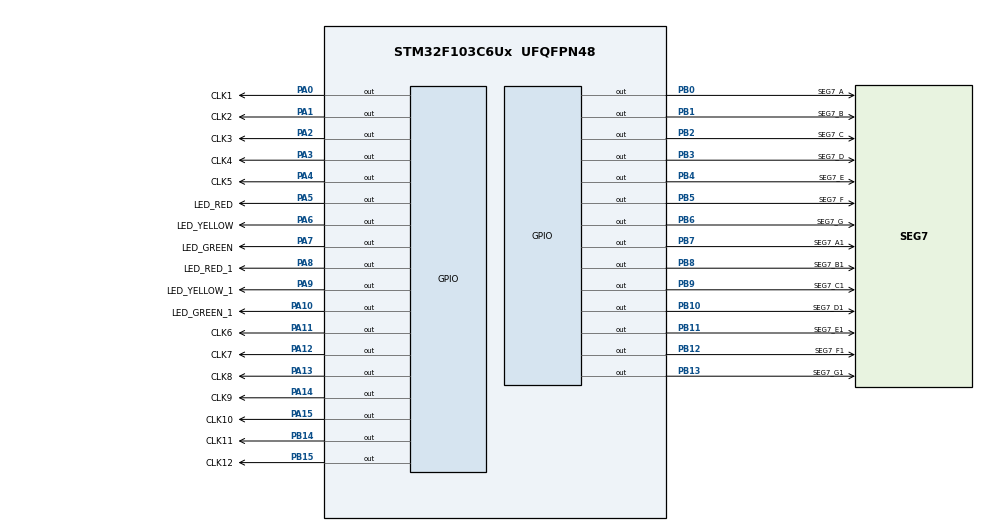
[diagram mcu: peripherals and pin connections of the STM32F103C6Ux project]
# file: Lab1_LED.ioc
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Mcu.Family=STM32F1
Mcu.Name=STM32F103C6Ux
Mcu.Package=UFQFPN48
NVIC.PriorityGroup=NVIC_PRIORITYGROUP_4
PA0-WKUP.GPIO_Label=CLK1
PA0-WKUP.Signal=GPIO_Output
PA1.GPIO_Label=CLK2
PA1.Signal=GPIO_Output
PA10.GPIO_Label=LED_GREEN_1
PA10.Signal=GPIO_Output
PA11.GPIO_Label=CLK6
PA11.Signal=GPIO_Output
PA12.GPIO_Label=CLK7
PA12.Signal=GPIO_Output
PA13.GPIO_Label=CLK8
PA13.Signal=GPIO_Output
PA14.GPIO_Label=CLK9
PA14.Signal=GPIO_Output
PA15.GPIO_Label=CLK10
PA15.Signal=GPIO_Output
PA2.GPIO_Label=CLK3
PA2.Signal=GPIO_Output
PA3.GPIO_Label=CLK4
PA3.Signal=GPIO_Output
PA4.GPIO_Label=CLK5
PA4.Signal=GPIO_Output
PA5.GPIO_Label=LED_RED
PA5.Signal=GPIO_Output
PA6.GPIO_Label=LED_YELLOW
PA6.Signal=GPIO_Output
PA7.GPIO_Label=LED_GREEN
PA7.Signal=GPIO_Output
PA8.GPIO_Label=LED_RED_1
PA8.Signal=GPIO_Output
PA9.GPIO_Label=LED_YELLOW_1
PA9.Signal=GPIO_Output
PB0.GPIO_Label=SEG7_A
PB0.Signal=GPIO_Output
PB1.GPIO_Label=SEG7_B
PB1.Signal=GPIO_Output
PB10.GPIO_Label=SEG7_D1
PB10.Signal=GPIO_Output
PB11.GPIO_Label=SEG7_E1
PB11.Signal=GPIO_Output
PB12.GPIO_Label=SEG7_F1
PB12.Signal=GPIO_Output
PB13.GPIO_Label=SEG7_G1
PB13.Signal=GPIO_Output
PB14.GPIO_Label=CLK11
PB14.Signal=GPIO_Output
PB15.GPIO_Label=CLK12
PB15.Signal=GPIO_Output
PB2.GPIO_Label=SEG7_C
PB2.Signal=GPIO_Output
PB3.GPIO_Label=SEG7_D
PB3.Signal=GPIO_Output
PB4.GPIO_Label=SEG7_E
PB4.Signal=GPIO_Output
PB5.GPIO_Label=SEG7_F
PB5.Signal=GPIO_Output
PB6.GPIO_Label=SEG7_G
PB6.Signal=GPIO_Output
PB7.GPIO_Label=SEG7_A1
PB7.Signal=GPIO_Output
PB8.GPIO_Label=SEG7_B1
PB8.Signal=GPIO_Output
PB9.GPIO_Label=SEG7_C1
PB9.Signal=GPIO_Output
ProjectManager.HeapSize=0x200
ProjectManager.StackSize=0x400
ProjectManager.TargetToolchain=STM32CubeIDE
RCC.APB1Freq_Value=8000000
RCC.APB2Freq_Value=8000000
board=custom

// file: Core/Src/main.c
/* USER CODE BEGIN Header */
/**
  ******************************************************************************
  * @file           : main.c
  * @brief          : Main program body
  ******************************************************************************
  * @attention
  *
  * Copyright (c) 2025 STMicroelectronics.
  * All rights reserved.
  *
  * This software is licensed under terms that can be found in the LICENSE file
  * in the root directory of this software component.
  * If no LICENSE file comes with this software, it is provided AS-IS.
  *
  ******************************************************************************
  */
/* USER CODE END Header */
#include "main.h"

/* USER CODE BEGIN Includes */
#include "Exercise1.h"
#include "Exercise2.h"
#include "Exercise3.h"
#include "Exercise4.h"
#include "Exercise5.h"
//#define RED_TIME 3000

/* USER CODE END Includes */

void SystemClock_Config(void);
static void MX_GPIO_Init(void);

/* USER CODE BEGIN 0 */
//uint8_t led_red_state = LED_OFF;
//uint8_t led_yellow_state = LED_OFF;
//uint8_t led_green_state = LED_OFF;
//uint8_t led_red1_state = LED_OFF;
//uint8_t led_yellow1_state = LED_OFF;
//uint8_t led_green1_state = LED_OFF;

///Exercise2: Traffic light

//Exercises
void Exercise0();

//void Exercise3();
//void Exercise4();
void Exercise5();
void Exercise6();
void Exercise7();
void Exercise8();
void Exercise9();
void Exercise10();
/* USER CODE END 0 */

int main(void)
{

  /* MCU Configuration--------------------------------------------------------*/

  /* Reset of all peripherals, Initializes the Flash interface and the Systick. */
  HAL_Init();

  /* Configure the system clock */
  SystemClock_Config();

  /* Initialize all configured peripherals */
  MX_GPIO_Init();

  /* Infinite loop */
  while (1)
  {
	  Excercise5();
	  HAL_Delay(1000);
  }
}

void SystemClock_Config(void)
{
  RCC_OscInitTypeDef RCC_OscInitStruct = {0};
  RCC_ClkInitTypeDef RCC_ClkInitStruct = {0};

  /** Initializes the RCC Oscillators according to the specified parameters
  * in the RCC_OscInitTypeDef structure.
  */
  RCC_OscInitStruct.OscillatorType = RCC_OSCILLATORTYPE_HSI;
  RCC_OscInitStruct.HSIState = RCC_HSI_ON;
  RCC_OscInitStruct.HSICalibrationValue = RCC_HSICALIBRATION_DEFAULT;
  RCC_OscInitStruct.PLL.PLLState = RCC_PLL_NONE;
  if (HAL_RCC_OscConfig(&RCC_OscInitStruct) != HAL_OK)
  {
    Error_Handler();
  }

  /** Initializes the CPU, AHB and APB buses clocks
  */
  RCC_ClkInitStruct.ClockType = RCC_CLOCKTYPE_HCLK|RCC_CLOCKTYPE_SYSCLK
                              |RCC_CLOCKTYPE_PCLK1|RCC_CLOCKTYPE_PCLK2;
  RCC_ClkInitStruct.SYSCLKSource = RCC_SYSCLKSOURCE_HSI;
  RCC_ClkInitStruct.AHBCLKDivider = RCC_SYSCLK_DIV1;
  RCC_ClkInitStruct.APB1CLKDivider = RCC_HCLK_DIV1;
  RCC_ClkInitStruct.APB2CLKDivider = RCC_HCLK_DIV1;

  if (HAL_RCC_ClockConfig(&RCC_ClkInitStruct, FLASH_LATENCY_0) != HAL_OK)
  {
    Error_Handler();
  }
}

static void MX_GPIO_Init(void)
{
  GPIO_InitTypeDef GPIO_InitStruct = {0};

  /* GPIO Ports Clock Enable */
  __HAL_RCC_GPIOA_CLK_ENABLE();
  __HAL_RCC_GPIOB_CLK_ENABLE();

  /*Configure GPIO pin Output Level */
  HAL_GPIO_WritePin(GPIOA, CLK1_Pin|CLK2_Pin|CLK3_Pin|CLK4_Pin
                          |CLK5_Pin|LED_RED_Pin|LED_YELLOW_Pin|LED_GREEN_Pin
                          |LED_RED_1_Pin|LED_YELLOW_1_Pin|LED_GREEN_1_Pin|CLK6_Pin
                          |CLK7_Pin|CLK8_Pin|CLK9_Pin|CLK10_Pin, GPIO_PIN_RESET);

  /*Configure GPIO pin Output Level */
  HAL_GPIO_WritePin(GPIOB, SEG7_A_Pin|SEG7_B_Pin|SEG7_C_Pin|SEG7_D1_Pin
                          |SEG7_E1_Pin|SEG7_F1_Pin|SEG7_G1_Pin|CLK11_Pin
                          |CLK12_Pin|SEG7_D_Pin|SEG7_E_Pin|SEG7_F_Pin
                          |SEG7_G_Pin|SEG7_A1_Pin|SEG7_B1_Pin|SEG7_C1_Pin, GPIO_PIN_RESET);

  /*Configure GPIO pins : CLK1_Pin CLK2_Pin CLK3_Pin CLK4_Pin
                           CLK5_Pin LED_RED_Pin LED_YELLOW_Pin LED_GREEN_Pin
                           LED_RED_1_Pin LED_YELLOW_1_Pin LED_GREEN_1_Pin CLK6_Pin
                           CLK7_Pin CLK8_Pin CLK9_Pin CLK10_Pin */
  GPIO_InitStruct.Pin = CLK1_Pin|CLK2_Pin|CLK3_Pin|CLK4_Pin
                          |CLK5_Pin|LED_RED_Pin|LED_YELLOW_Pin|LED_GREEN_Pin
                          |LED_RED_1_Pin|LED_YELLOW_1_Pin|LED_GREEN_1_Pin|CLK6_Pin
                          |CLK7_Pin|CLK8_Pin|CLK9_Pin|CLK10_Pin;
  GPIO_InitStruct.Mode = GPIO_MODE_OUTPUT_PP;
  GPIO_InitStruct.Pull = GPIO_NOPULL;
  GPIO_InitStruct.Speed = GPIO_SPEED_FREQ_LOW;
  HAL_GPIO_Init(GPIOA, &GPIO_InitStruct);

  /*Configure GPIO pins : SEG7_A_Pin SEG7_B_Pin SEG7_C_Pin SEG7_D1_Pin
                           SEG7_E1_Pin SEG7_F1_Pin SEG7_G1_Pin CLK11_Pin
                           CLK12_Pin SEG7_D_Pin SEG7_E_Pin SEG7_F_Pin
                           SEG7_G_Pin SEG7_A1_Pin SEG7_B1_Pin SEG7_C1_Pin */
  GPIO_InitStruct.Pin = SEG7_A_Pin|SEG7_B_Pin|SEG7_C_Pin|SEG7_D1_Pin
                          |SEG7_E1_Pin|SEG7_F1_Pin|SEG7_G1_Pin|CLK11_Pin
                          |CLK12_Pin|SEG7_D_Pin|SEG7_E_Pin|SEG7_F_Pin
                          |SEG7_G_Pin|SEG7_A1_Pin|SEG7_B1_Pin|SEG7_C1_Pin;
  GPIO_InitStruct.Mode = GPIO_MODE_OUTPUT_PP;
  GPIO_InitStruct.Pull = GPIO_NOPULL;
  GPIO_InitStruct.Speed = GPIO_SPEED_FREQ_LOW;
  HAL_GPIO_Init(GPIOB, &GPIO_InitStruct);

}

/* USER CODE BEGIN 4 */
void Exercise0() {
	HAL_GPIO_TogglePin(LED_RED_GPIO_Port, LED_RED_Pin);
	HAL_Delay(1000);
}

/* USER CODE END 4 */

void Error_Handler(void)
{
  __disable_irq();
  while (1)
  {
  }
}
